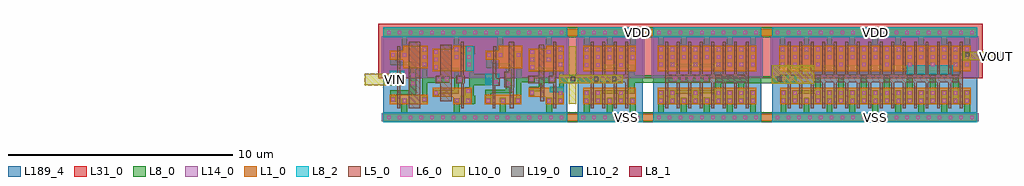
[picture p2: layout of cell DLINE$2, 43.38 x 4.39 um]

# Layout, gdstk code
from math import pi, radians
import gdstk
lib = gdstk.Library(unit=1e-6, precision=1e-09)
def R(c, l, rs):  # rectangles x0, y0, x1, y1
    for r in rs: c.add(gdstk.rectangle(r[:2], r[2:], *l))
def A(c, l, x, y, w, h, nx, ny, dx, dy):  # array of equal rectangles
    R(c, l, [(x+i*dx, y+j*dy, x+i*dx+w, y+j*dy+h) for i in range(nx) for j in range(ny)])
def P(c, l, *ps):  # polygons
    for p in ps: c.add(gdstk.Polygon(p, *l))
L1_0 = (1, 0)
L5_0 = (5, 0)
L6_0 = (6, 0)
L8_0 = (8, 0)
L8_1 = (8, 1)
L8_2 = (8, 2)
L10_0 = (10, 0)
L10_2 = (10, 2)
L14_0 = (14, 0)
L19_0 = (19, 0)
L31_0 = (31, 0)
L189_4 = (189, 4)

sg13g2_dlygate4sd2_1_1 = lib.new_cell('sg13g2_dlygate4sd2_1$1')
R(sg13g2_dlygate4sd2_1_1, L1_0, [(0,-0.15,3.84,0.15), (0.19,0.59,1.81,1.01), (0,3.63,3.84,3.93)])
P(sg13g2_dlygate4sd2_1_1, L1_0, [(2.895,0.59),(2.895,0.91),(2.13,0.91),(2.13,1.33),(3.705,1.33),(3.705,0.59)],
  [(2.13,2.06),(2.13,3.06),(2.91,3.06),(2.91,3.18),(3.705,3.18),(3.705,2.06)],
  [(0.8,2.18),(0.8,2.555),(0.22,2.555),(0.22,2.975),(0.8,2.975),(0.8,3.18),(1.84,3.18),(1.84,2.18)])
P(sg13g2_dlygate4sd2_1_1, L5_0, [(2.645,0.73),(2.645,1.52),(2.12,1.52),(2.12,1.85),(2.575,1.85),(2.575,3.24),(2.825,3.24),(2.825,0.73)],
  [(0.53,0.41),(0.53,2.48),(0.56,2.48),(0.56,3.155),(0.69,3.155),(0.69,1.74),(0.84,1.74),(0.84,1.41),(0.66,1.41),(0.66,0.41)],
  [(1.29,0.41),(1.29,1.35),(1.05,1.35),(1.05,2.02),(1.25,2.02),(1.25,3.36),(1.5,3.36),(1.5,1.35),(1.47,1.35),(1.47,0.41)],
  [(3.235,0.41),(3.235,1.515),(3.02,1.515),(3.02,1.845),(3.235,1.845),(3.235,3.36),(3.365,3.36),(3.365,0.41)])
A(sg13g2_dlygate4sd2_1_1, L6_0, 0.16, -0.08, 0.16, 0.16, 8, 2, 0.48, 3.78)
A(sg13g2_dlygate4sd2_1_1, L6_0, 2.215, 2.15, 0.16, 0.16, 1, 3, 0, 0.34)
A(sg13g2_dlygate4sd2_1_1, L6_0, 3.475, 2.27, 0.16, 0.16, 1, 3, 0, 0.34)
R(sg13g2_dlygate4sd2_1_1, L6_0, [(0.26,0.66,0.42,0.82), (0.91,0.66,1.07,0.82), (1.58,0.66,1.74,0.82), (2.965,0.66,3.125,0.82), (3.475,0.66,3.635,0.82), (3.475,1,3.635,1.16), (2.2,1.015,2.36,1.175), (1.165,1.435,1.325,1.595), (0.605,1.495,0.765,1.655), (3.105,1.6,3.265,1.76), (2.19,1.605,2.35,1.765), (1.165,1.775,1.325,1.935), (2.95,2.495,3.11,2.655), (0.29,2.7,0.45,2.86), (0.8,2.7,0.96,2.86), (1.61,2.7,1.77,2.86), (2.95,2.835,3.11,2.995)])
R(sg13g2_dlygate4sd2_1_1, L8_0, [(0.205,1.425,0.835,1.945)])
P(sg13g2_dlygate4sd2_1_1, L8_0, [(2.155,0.96),(2.155,1.36),(2.58,1.36),(2.58,1.81),(3.045,1.81),(3.045,2.03),(2.165,2.03),(2.165,3.04),(2.425,3.04),(2.425,2.205),(3.205,2.205),(3.205,1.81),(3.315,1.81),(3.315,1.55),(2.74,1.55),(2.74,1.16),(2.395,1.16),(2.395,0.96)],
  [(1.52,0.61),(1.52,0.87),(1.58,0.87),(1.58,2.615),(1.52,2.615),(1.52,2.945),(1.825,2.945),(1.825,1.815),(2.4,1.815),(2.4,1.555),(1.81,1.555),(1.81,0.61)],
  [(0.21,0.61),(0.21,1.24),(1.12,1.24),(1.12,2.195),(0.24,2.195),(0.24,2.91),(0.5,2.91),(0.5,2.4),(1.375,2.4),(1.375,1.065),(0.48,1.065),(0.48,0.61)],
  [(3.425,0.61),(3.425,1.115),(3.065,1.115),(3.065,1.37),(3.495,1.37),(3.495,2.22),(3.43,2.22),(3.43,3.16),(3.685,3.16),(3.685,0.61)],
  [(2.9,2.455),(2.9,3.56),(1.01,3.56),(1.01,2.65),(0.745,2.65),(0.745,3.56),(0,3.56),(0,4),(3.84,4),(3.84,3.56),(3.16,3.56),(3.16,2.455)],
  [(0,-0.22),(0,0.22),(0.86,0.22),(0.86,0.87),(1.12,0.87),(1.12,0.22),(2.915,0.22),(2.915,0.87),(3.175,0.87),(3.175,0.22),(3.84,0.22),(3.84,-0.22)])
R(sg13g2_dlygate4sd2_1_1, L8_2, [(0,-0.22,3.84,0.22), (3.065,1.115,3.685,1.37), (0.205,1.425,0.835,1.945), (0,3.56,3.84,4)])
R(sg13g2_dlygate4sd2_1_1, L14_0, [(-0.07,-0.18,3.91,0.18), (-0.07,1.76,3.91,3.6)])
R(sg13g2_dlygate4sd2_1_1, L31_0, [(-0.24,1.75,4.08,4.17)])
R(sg13g2_dlygate4sd2_1_1, L189_4, [(0,0,3.84,3.78)])
sg13g2_dlygate4sd2_1_1.add(gdstk.Label('X', (3.36,1.26), layer=8, texttype=25))
sg13g2_dlygate4sd2_1_1.add(gdstk.Label('VDD', (2.085,3.79), layer=8, texttype=25))
sg13g2_dlygate4sd2_1_1.add(gdstk.Label('VSS', (2.2,0.005), layer=8, texttype=25))
sg13g2_dlygate4sd2_1_1.add(gdstk.Label('A', (0.52,1.68), layer=8, texttype=25))

sg13g2_inv_4_1 = lib.new_cell('sg13g2_inv_4$1')
R(sg13g2_inv_4_1, L1_0, [(0,-0.15,2.88,0.15), (0.245,0.59,2.585,1.33), (0.245,2.06,2.585,3.18), (0,3.63,2.88,3.93)])
P(sg13g2_inv_4_1, L5_0, [(0.585,0.41),(0.585,3.36),(0.715,3.36),(0.715,1.9),(1.095,1.9),(1.095,3.36),(1.225,3.36),(1.225,1.9),(1.605,1.9),(1.605,3.36),(1.735,3.36),(1.735,1.9),(2.115,1.9),(2.115,3.36),(2.245,3.36),(2.245,0.41),(2.115,0.41),(2.115,1.57),(1.735,1.57),(1.735,0.41),(1.605,0.41),(1.605,1.57),(1.225,1.57),(1.225,0.41),(1.095,0.41),(1.095,1.57),(0.715,1.57),(0.715,0.41)])
A(sg13g2_inv_4_1, L6_0, 0.315, 0.66, 0.16, 0.16, 5, 2, 0.51, 2.285)
A(sg13g2_inv_4_1, L6_0, 0.735, 1.655, 0.16, 0.16, 4, 1, 0.34, 0)
R(sg13g2_inv_4_1, L6_0, [(0.16,-0.08,0.32,0.08), (0.16,-0.08,0.32,0.08), (0.64,-0.08,0.8,0.08), (0.64,-0.08,0.8,0.08), (1.12,-0.08,1.28,0.08), (1.12,-0.08,1.28,0.08), (1.6,-0.08,1.76,0.08), (1.6,-0.08,1.76,0.08), (2.08,-0.08,2.24,0.08), (2.08,-0.08,2.24,0.08), (2.56,-0.08,2.72,0.08), (2.56,-0.08,2.72,0.08), (0.315,1,0.475,1.16), (0.825,1,0.985,1.16), (1.845,1,2.005,1.16), (0.315,2.255,0.475,2.415), (0.825,2.255,0.985,2.415), (1.845,2.255,2.005,2.415), (1.335,2.595,1.495,2.755), (2.355,2.595,2.515,2.755), (0.315,2.605,0.475,2.765), (0.825,2.605,0.985,2.765), (1.845,2.605,2.005,2.765), (0.16,3.7,0.32,3.86), (0.16,3.7,0.32,3.86), (0.64,3.7,0.8,3.86), (0.64,3.7,0.8,3.86), (1.12,3.7,1.28,3.86), (1.12,3.7,1.28,3.86), (1.6,3.7,1.76,3.86), (1.6,3.7,1.76,3.86), (2.08,3.7,2.24,3.86), (2.08,3.7,2.24,3.86), (2.56,3.7,2.72,3.86), (2.56,3.7,2.72,3.86)])
R(sg13g2_inv_4_1, L8_0, [(0.48,1.52,2,1.9)])
P(sg13g2_inv_4_1, L8_0, [(0.775,0.61),(0.775,1.21),(2.245,1.21),(2.245,2.17),(0.775,2.17),(0.775,3.155),(1.035,3.155),(1.035,2.34),(1.795,2.34),(1.795,3.155),(2.055,3.155),(2.055,2.34),(2.54,2.34),(2.54,1.05),(2.055,1.05),(2.055,0.61),(1.795,0.61),(1.795,1.05),(1.035,1.05),(1.035,0.61)],
  [(0.265,2.205),(0.265,3.56),(0,3.56),(0,4),(2.88,4),(2.88,3.56),(2.565,3.56),(2.565,2.545),(2.305,2.545),(2.305,3.56),(1.545,3.56),(1.545,2.545),(1.285,2.545),(1.285,3.56),(0.525,3.56),(0.525,2.205)],
  [(0,-0.22),(0,0.22),(0.265,0.22),(0.265,1.21),(0.525,1.21),(0.525,0.22),(1.28,0.22),(1.28,0.87),(1.55,0.87),(1.55,0.22),(2.305,0.22),(2.305,0.87),(2.565,0.87),(2.565,0.22),(2.88,0.22),(2.88,-0.22)])
R(sg13g2_inv_4_1, L8_2, [(0,-0.22,2.88,0.22), (0,3.56,2.88,4)])
R(sg13g2_inv_4_1, L14_0, [(-0.07,-0.18,2.95,0.18), (-0.07,1.76,2.95,3.6)])
R(sg13g2_inv_4_1, L31_0, [(-0.24,1.75,3.12,4.17)])
R(sg13g2_inv_4_1, L189_4, [(0,0,2.88,3.78)])
sg13g2_inv_4_1.add(gdstk.Label('VDD', (1.925,3.8), layer=8, texttype=25))
sg13g2_inv_4_1.add(gdstk.Label('VSS', (1.405,0.005), layer=8, texttype=25))

sg13g2_inv_8_1 = lib.new_cell('sg13g2_inv_8$1')
R(sg13g2_inv_8_1, L1_0, [(0,-0.15,4.8,0.15), (0.185,0.59,4.575,1.33), (0.185,2.06,4.575,3.18), (0,3.63,4.8,3.93)])
P(sg13g2_inv_8_1, L5_0, [(0.525,0.41),(0.525,3.36),(0.655,3.36),(0.655,1.9),(1.035,1.9),(1.035,3.36),(1.165,3.36),(1.165,1.9),(1.545,1.9),(1.545,3.36),(1.675,3.36),(1.675,1.9),(2.055,1.9),(2.055,3.36),(2.185,3.36),(2.185,1.9),(2.565,1.9),(2.565,3.36),(2.695,3.36),(2.695,1.9),(3.075,1.9),(3.075,3.36),(3.205,3.36),(3.205,1.9),(3.585,1.9),(3.585,3.36),(3.715,3.36),(3.715,1.9),(4.105,1.9),(4.105,3.36),(4.235,3.36),(4.235,0.41),(4.105,0.41),(4.105,1.57),(3.715,1.57),(3.715,0.41),(3.585,0.41),(3.585,1.57),(3.205,1.57),(3.205,0.41),(3.075,0.41),(3.075,1.57),(2.695,1.57),(2.695,0.41),(2.565,0.41),(2.565,1.57),(2.185,1.57),(2.185,0.41),(2.055,0.41),(2.055,1.57),(1.675,1.57),(1.675,0.41),(1.545,0.41),(1.545,1.57),(1.165,1.57),(1.165,0.41),(1.035,0.41),(1.035,1.57),(0.655,1.57),(0.655,0.41)])
A(sg13g2_inv_8_1, L6_0, 0.255, 0.66, 0.16, 0.16, 8, 2, 0.51, 1.95)
A(sg13g2_inv_8_1, L6_0, 0.765, 1, 0.16, 0.16, 3, 2, 1.02, 1.27)
A(sg13g2_inv_8_1, L6_0, 0.89, 1.655, 0.16, 0.16, 5, 1, 0.34, 0)
A(sg13g2_inv_8_1, L6_0, 4.345, 2.27, 0.16, 0.16, 1, 3, 0, 0.34)
A(sg13g2_inv_8_1, L6_0, 0.255, 2.95, 0.16, 0.16, 8, 1, 0.51, 0)
R(sg13g2_inv_8_1, L6_0, [(0.16,-0.08,0.32,0.08), (0.16,-0.08,0.32,0.08), (0.64,-0.08,0.8,0.08), (0.64,-0.08,0.8,0.08), (1.12,-0.08,1.28,0.08), (1.12,-0.08,1.28,0.08), (1.6,-0.08,1.76,0.08), (1.6,-0.08,1.76,0.08), (2.08,-0.08,2.24,0.08), (2.08,-0.08,2.24,0.08), (2.56,-0.08,2.72,0.08), (2.56,-0.08,2.72,0.08), (3.04,-0.08,3.2,0.08), (3.04,-0.08,3.2,0.08), (3.52,-0.08,3.68,0.08), (3.52,-0.08,3.68,0.08), (4,-0.08,4.16,0.08), (4,-0.08,4.16,0.08), (4.48,-0.08,4.64,0.08), (4.48,-0.08,4.64,0.08), (4.345,0.66,4.505,0.82), (0.255,1,0.415,1.16), (3.315,1,3.475,1.16), (3.825,1,3.985,1.16), (4.345,1,4.505,1.16), (0.255,2.27,0.415,2.43), (3.315,2.27,3.475,2.43), (3.825,2.27,3.985,2.43), (0.16,3.7,0.32,3.86), (0.16,3.7,0.32,3.86), (0.64,3.7,0.8,3.86), (0.64,3.7,0.8,3.86), (1.12,3.7,1.28,3.86), (1.12,3.7,1.28,3.86), (1.6,3.7,1.76,3.86), (1.6,3.7,1.76,3.86), (2.08,3.7,2.24,3.86), (2.08,3.7,2.24,3.86), (2.56,3.7,2.72,3.86), (2.56,3.7,2.72,3.86), (3.04,3.7,3.2,3.86), (3.04,3.7,3.2,3.86), (3.52,3.7,3.68,3.86), (3.52,3.7,3.68,3.86), (4,3.7,4.16,3.86), (4,3.7,4.16,3.86), (4.48,3.7,4.64,3.86), (4.48,3.7,4.64,3.86)])
R(sg13g2_inv_8_1, L8_0, [(0.805,1.535,2.495,1.865)])
P(sg13g2_inv_8_1, L8_0, [(0,-0.22),(0,0.22),(0.205,0.22),(0.205,1.21),(0.465,1.21),(0.465,0.22),(1.225,0.22),(1.225,0.87),(1.485,0.87),(1.485,0.22),(2.245,0.22),(2.245,0.89),(2.505,0.89),(2.505,0.22),(3.265,0.22),(3.265,1.21),(3.525,1.21),(3.525,0.22),(4.295,0.22),(4.295,1.21),(4.555,1.21),(4.555,0.22),(4.8,0.22),(4.8,-0.22)],
  [(0.205,2.22),(0.205,3.56),(0,3.56),(0,4),(4.8,4),(4.8,3.56),(4.555,3.56),(4.555,2.22),(4.295,2.22),(4.295,3.56),(3.525,3.56),(3.525,2.22),(3.265,2.22),(3.265,3.56),(2.505,3.56),(2.505,2.56),(2.245,2.56),(2.245,3.56),(1.485,3.56),(1.485,2.56),(1.225,2.56),(1.225,3.56),(0.465,3.56),(0.465,2.22)],
  [(1.735,0.61),(1.735,1.05),(0.98,1.05),(0.98,0.62),(0.715,0.62),(0.715,1.23),(2.74,1.23),(2.74,2.22),(0.715,2.22),(0.715,3.16),(0.975,3.16),(0.975,2.38),(1.735,2.38),(1.735,3.16),(1.995,3.16),(1.995,2.38),(2.755,2.38),(2.755,3.16),(3.015,3.16),(3.015,1.84),(3.775,1.84),(3.775,3.16),(4.035,3.16),(4.035,0.61),(3.775,0.61),(3.775,1.53),(3.015,1.53),(3.015,0.61),(2.755,0.61),(2.755,1.07),(2,1.07),(2,0.61)])
R(sg13g2_inv_8_1, L8_2, [(0,-0.22,4.8,0.22), (0,3.56,4.8,4)])
R(sg13g2_inv_8_1, L14_0, [(-0.07,-0.18,4.87,0.18), (-0.07,1.76,4.87,3.6)])
R(sg13g2_inv_8_1, L31_0, [(-0.24,1.75,5.04,4.17)])
R(sg13g2_inv_8_1, L189_4, [(0,0,4.8,3.78)])
sg13g2_inv_8_1.add(gdstk.Label('VSS', (2.31,-0.02), layer=8, texttype=25))
sg13g2_inv_8_1.add(gdstk.Label('VDD', (2.71,3.78), layer=8, texttype=25))

sg13g2_dlygate4sd3_1_1 = lib.new_cell('sg13g2_dlygate4sd3_1$1')
R(sg13g2_dlygate4sd3_1_1, L1_0, [(0,-0.15,4.32,0.15), (0.28,0.59,1.97,1.01), (0,3.63,4.32,3.93)])
P(sg13g2_dlygate4sd3_1_1, L1_0, [(2.19,2.06),(2.19,3.06),(3.1,3.06),(3.1,3.18),(3.95,3.18),(3.95,2.06)],
  [(3.11,0.59),(3.11,0.91),(2.19,0.91),(2.19,1.33),(3.92,1.33),(3.92,0.59)],
  [(0.88,2.18),(0.88,2.555),(0.28,2.555),(0.28,2.975),(0.88,2.975),(0.88,3.18),(1.97,3.18),(1.97,2.18)])
R(sg13g2_dlygate4sd3_1_1, L5_0, [(1.13,0.41,1.63,3.36)])
P(sg13g2_dlygate4sd3_1_1, L5_0, [(0.62,0.41),(0.62,1.41),(0.59,1.41),(0.59,1.74),(0.62,1.74),(0.62,3.155),(0.75,3.155),(0.75,1.74),(0.92,1.74),(0.92,1.41),(0.75,1.41),(0.75,0.41)],
  [(3.45,0.41),(3.45,1.515),(3.245,1.515),(3.245,1.845),(3.44,1.845),(3.44,3.36),(3.57,3.36),(3.57,1.845),(3.61,1.845),(3.61,1.515),(3.58,1.515),(3.58,0.41)],
  [(2.53,0.73),(2.53,1.52),(2.315,1.52),(2.315,1.85),(2.53,1.85),(2.53,3.24),(3.03,3.24),(3.03,1.85),(3.035,1.85),(3.035,1.52),(3.03,1.52),(3.03,0.73)])
A(sg13g2_dlygate4sd3_1_1, L6_0, 2.26, 2.15, 0.16, 0.16, 1, 3, 0, 0.34)
A(sg13g2_dlygate4sd3_1_1, L6_0, 1.74, 2.27, 0.16, 0.16, 1, 3, 0, 0.34)
A(sg13g2_dlygate4sd3_1_1, L6_0, 3.72, 2.27, 0.16, 0.16, 1, 3, 0, 0.34)
R(sg13g2_dlygate4sd3_1_1, L6_0, [(0.16,-0.08,0.32,0.08), (0.16,-0.08,0.32,0.08), (0.64,-0.08,0.8,0.08), (0.64,-0.08,0.8,0.08), (1.12,-0.08,1.28,0.08), (1.12,-0.08,1.28,0.08), (1.6,-0.08,1.76,0.08), (1.6,-0.08,1.76,0.08), (2.08,-0.08,2.24,0.08), (2.08,-0.08,2.24,0.08), (2.56,-0.08,2.72,0.08), (2.56,-0.08,2.72,0.08), (3.04,-0.08,3.2,0.08), (3.04,-0.08,3.2,0.08), (3.52,-0.08,3.68,0.08), (3.52,-0.08,3.68,0.08), (4,-0.08,4.16,0.08), (4,-0.08,4.16,0.08), (0.86,0.66,1.02,0.82), (3.69,0.66,3.85,0.82), (3.18,0.665,3.34,0.825), (0.35,0.715,0.51,0.875), (1.74,0.715,1.9,0.875), (2.26,1.01,2.42,1.17), (3.69,1.09,3.85,1.25), (1.24,1.43,1.4,1.59), (0.67,1.49,0.83,1.65), (3.325,1.595,3.485,1.755), (2.395,1.6,2.555,1.76), (2.735,1.6,2.895,1.76), (1.24,1.785,1.4,1.945), (3.17,2.61,3.33,2.77), (0.35,2.695,0.51,2.855), (0.86,2.695,1.02,2.855), (3.17,2.95,3.33,3.11), (0.16,3.7,0.32,3.86), (0.16,3.7,0.32,3.86), (0.64,3.7,0.8,3.86), (0.64,3.7,0.8,3.86), (1.12,3.7,1.28,3.86), (1.12,3.7,1.28,3.86), (1.6,3.7,1.76,3.86), (1.6,3.7,1.76,3.86), (2.08,3.7,2.24,3.86), (2.08,3.7,2.24,3.86), (2.56,3.7,2.72,3.86), (2.56,3.7,2.72,3.86), (3.04,3.7,3.2,3.86), (3.04,3.7,3.2,3.86), (3.52,3.7,3.68,3.86), (3.52,3.7,3.68,3.86), (4,3.7,4.16,3.86), (4,3.7,4.16,3.86)])
R(sg13g2_dlygate4sd3_1_1, L8_0, [(0.285,1.41,0.915,2.08)])
P(sg13g2_dlygate4sd3_1_1, L8_0, [(3.61,0.595),(3.61,1.34),(3.805,1.34),(3.805,2.075),(3.655,2.075),(3.655,3.17),(4.02,3.17),(4.02,0.595)],
  [(0,-0.22),(0,0.22),(0.8,0.22),(0.8,0.835),(1.07,0.835),(1.07,0.22),(3.13,0.22),(3.13,0.85),(3.39,0.85),(3.39,0.22),(4.32,0.22),(4.32,-0.22)],
  [(3.12,2.56),(3.12,3.56),(1.07,3.56),(1.07,2.665),(0.81,2.665),(0.81,3.56),(0,3.56),(0,4),(4.32,4),(4.32,3.56),(3.38,3.56),(3.38,2.56)],
  [(2.205,0.945),(2.205,1.235),(3.15,1.235),(3.15,2.045),(2.21,2.045),(2.21,3.04),(2.47,3.04),(2.47,2.215),(3.34,2.215),(3.34,1.845),(3.535,1.845),(3.535,1.515),(3.34,1.515),(3.34,1.045),(2.47,1.045),(2.47,0.945)],
  [(1.72,0.665),(1.72,2.22),(1.69,2.22),(1.69,3.16),(1.955,3.16),(1.955,1.81),(2.925,1.81),(2.925,1.55),(1.955,1.55),(1.955,0.665)],
  [(0.3,0.69),(0.3,1.205),(1.175,1.205),(1.175,2.32),(0.3,2.32),(0.3,2.88),(0.56,2.88),(0.56,2.48),(1.455,2.48),(1.455,1.015),(0.56,1.015),(0.56,0.69)])
R(sg13g2_dlygate4sd3_1_1, L8_2, [(0,-0.22,4.32,0.22), (0.285,1.41,0.915,2.08), (3.655,2.075,4.02,3.17), (0,3.56,4.32,4)])
R(sg13g2_dlygate4sd3_1_1, L14_0, [(-0.07,-0.18,4.39,0.18), (-0.07,1.76,4.39,3.6)])
R(sg13g2_dlygate4sd3_1_1, L31_0, [(-0.24,1.75,4.56,4.17)])
R(sg13g2_dlygate4sd3_1_1, L189_4, [(0,0,4.32,3.78)])
sg13g2_dlygate4sd3_1_1.add(gdstk.Label('A', (0.62,1.755), layer=8, texttype=25))
sg13g2_dlygate4sd3_1_1.add(gdstk.Label('VDD', (2.16,3.78), layer=8, texttype=25))
sg13g2_dlygate4sd3_1_1.add(gdstk.Label('VSS', (2.16,0), layer=8, texttype=25))
sg13g2_dlygate4sd3_1_1.add(gdstk.Label('X', (3.865,2.67), layer=8, texttype=25))

sg13g2_inv_16_1_1 = lib.new_cell('sg13g2_inv_16$1$1')
R(sg13g2_inv_16_1_1, L1_0, [(0,-0.15,9.12,0.15), (0.305,0.59,8.765,1.33), (0.305,2.06,8.815,3.18), (0,3.63,9.12,3.93)])
R(sg13g2_inv_16_1_1, L5_0, [(8.425,1.57,8.785,1.9)])
P(sg13g2_inv_16_1_1, L5_0, [(0.645,0.41),(0.645,3.36),(0.775,3.36),(0.775,1.9),(1.155,1.9),(1.155,3.36),(1.285,3.36),(1.285,1.9),(1.665,1.9),(1.665,3.36),(1.795,3.36),(1.795,1.9),(2.175,1.9),(2.175,3.36),(2.305,3.36),(2.305,1.9),(2.685,1.9),(2.685,3.36),(2.815,3.36),(2.815,1.9),(3.195,1.9),(3.195,3.36),(3.325,3.36),(3.325,1.9),(3.705,1.9),(3.705,3.36),(3.835,3.36),(3.835,1.9),(4.215,1.9),(4.215,3.36),(4.345,3.36),(4.345,1.9),(4.725,1.9),(4.725,3.36),(4.855,3.36),(4.855,1.9),(5.235,1.9),(5.235,3.36),(5.365,3.36),(5.365,1.9),(5.745,1.9),(5.745,3.36),(5.875,3.36),(5.875,1.9),(6.255,1.9),(6.255,3.36),(6.385,3.36),(6.385,1.9),(6.765,1.9),(6.765,3.36),(6.895,3.36),(6.895,1.9),(7.275,1.9),(7.275,3.36),(7.405,3.36),(7.405,1.9),(7.785,1.9),(7.785,3.36),(7.915,3.36),(7.915,1.9),(8.295,1.9),(8.295,3.36),(8.425,3.36),(8.425,0.41),(8.295,0.41),(8.295,1.57),(7.915,1.57),(7.915,0.41),(7.785,0.41),(7.785,1.57),(7.405,1.57),(7.405,0.41),(7.275,0.41),(7.275,1.57),(6.895,1.57),(6.895,0.41),(6.765,0.41),(6.765,1.57),(6.385,1.57),(6.385,0.41),(6.255,0.41),(6.255,1.57),(5.875,1.57),(5.875,0.41),(5.745,0.41),(5.745,1.57),(5.365,1.57),(5.365,0.41),(5.235,0.41),(5.235,1.57),(4.855,1.57),(4.855,0.41),(4.725,0.41),(4.725,1.57),(4.345,1.57),(4.345,0.41),(4.215,0.41),(4.215,1.57),(3.835,1.57),(3.835,0.41),(3.705,0.41),(3.705,1.57),(3.325,1.57),(3.325,0.41),(3.195,0.41),(3.195,1.57),(2.815,1.57),(2.815,0.41),(2.685,0.41),(2.685,1.57),(2.305,1.57),(2.305,0.41),(2.175,0.41),(2.175,1.57),(1.795,1.57),(1.795,0.41),(1.665,0.41),(1.665,1.57),(1.285,1.57),(1.285,0.41),(1.155,0.41),(1.155,1.57),(0.775,1.57),(0.775,0.41)])
A(sg13g2_inv_16_1_1, L6_0, 0.375, 0.66, 0.16, 0.16, 17, 1, 0.51, 0)
A(sg13g2_inv_16_1_1, L6_0, 0.375, 1, 0.16, 0.16, 14, 1, 0.51, 0)
A(sg13g2_inv_16_1_1, L6_0, 0.885, 2.27, 0.16, 0.16, 8, 1, 1.02, 0)
A(sg13g2_inv_16_1_1, L6_0, 8.585, 2.27, 0.16, 0.16, 1, 3, 0, 0.34)
A(sg13g2_inv_16_1_1, L6_0, 0.375, 2.61, 0.16, 0.16, 16, 2, 0.51, 0.34)
R(sg13g2_inv_16_1_1, L6_0, [(0.16,-0.08,0.32,0.08), (0.16,-0.08,0.32,0.08), (0.64,-0.08,0.8,0.08), (0.64,-0.08,0.8,0.08), (1.12,-0.08,1.28,0.08), (1.12,-0.08,1.28,0.08), (1.6,-0.08,1.76,0.08), (1.6,-0.08,1.76,0.08), (2.08,-0.08,2.24,0.08), (2.08,-0.08,2.24,0.08), (2.56,-0.08,2.72,0.08), (2.56,-0.08,2.72,0.08), (3.04,-0.08,3.2,0.08), (3.04,-0.08,3.2,0.08), (3.52,-0.08,3.68,0.08), (3.52,-0.08,3.68,0.08), (4,-0.08,4.16,0.08), (4,-0.08,4.16,0.08), (4.48,-0.08,4.64,0.08), (4.48,-0.08,4.64,0.08), (4.96,-0.08,5.12,0.08), (4.96,-0.08,5.12,0.08), (5.44,-0.08,5.6,0.08), (5.44,-0.08,5.6,0.08), (5.92,-0.08,6.08,0.08), (5.92,-0.08,6.08,0.08), (6.4,-0.08,6.56,0.08), (6.4,-0.08,6.56,0.08), (6.88,-0.08,7.04,0.08), (6.88,-0.08,7.04,0.08), (7.36,-0.08,7.52,0.08), (7.36,-0.08,7.52,0.08), (7.84,-0.08,8,0.08), (7.84,-0.08,8,0.08), (8.32,-0.08,8.48,0.08), (8.32,-0.08,8.48,0.08), (8.8,-0.08,8.96,0.08), (8.8,-0.08,8.96,0.08), (8.025,1,8.185,1.16), (8.535,1,8.695,1.16), (8.195,1.65,8.355,1.81), (8.535,1.65,8.695,1.81), (0.375,2.27,0.535,2.43), (0.16,3.7,0.32,3.86), (0.16,3.7,0.32,3.86), (0.64,3.7,0.8,3.86), (0.64,3.7,0.8,3.86), (1.12,3.7,1.28,3.86), (1.12,3.7,1.28,3.86), (1.6,3.7,1.76,3.86), (1.6,3.7,1.76,3.86), (2.08,3.7,2.24,3.86), (2.08,3.7,2.24,3.86), (2.56,3.7,2.72,3.86), (2.56,3.7,2.72,3.86), (3.04,3.7,3.2,3.86), (3.04,3.7,3.2,3.86), (3.52,3.7,3.68,3.86), (3.52,3.7,3.68,3.86), (4,3.7,4.16,3.86), (4,3.7,4.16,3.86), (4.48,3.7,4.64,3.86), (4.48,3.7,4.64,3.86), (4.96,3.7,5.12,3.86), (4.96,3.7,5.12,3.86), (5.44,3.7,5.6,3.86), (5.44,3.7,5.6,3.86), (5.92,3.7,6.08,3.86), (5.92,3.7,6.08,3.86), (6.4,3.7,6.56,3.86), (6.4,3.7,6.56,3.86), (6.88,3.7,7.04,3.86), (6.88,3.7,7.04,3.86), (7.36,3.7,7.52,3.86), (7.36,3.7,7.52,3.86), (7.84,3.7,8,3.86), (7.84,3.7,8,3.86), (8.32,3.7,8.48,3.86), (8.32,3.7,8.48,3.86), (8.8,3.7,8.96,3.86), (8.8,3.7,8.96,3.86)])
R(sg13g2_inv_16_1_1, L8_0, [(8.025,1.49,8.785,1.87)])
P(sg13g2_inv_16_1_1, L8_0, [(0,-0.22),(0,0.22),(0.325,0.22),(0.325,1.21),(0.585,1.21),(0.585,0.22),(1.345,0.22),(1.345,1.21),(1.605,1.21),(1.605,0.22),(2.365,0.22),(2.365,1.21),(2.625,1.21),(2.625,0.22),(3.385,0.22),(3.385,1.21),(3.645,1.21),(3.645,0.22),(4.405,0.22),(4.405,1.21),(4.665,1.21),(4.665,0.22),(5.425,0.22),(5.425,1.21),(5.685,1.21),(5.685,0.22),(6.445,0.22),(6.445,1.21),(6.705,1.21),(6.705,0.22),(7.465,0.22),(7.465,0.87),(7.725,0.87),(7.725,0.22),(8.485,0.22),(8.485,1.21),(8.745,1.21),(8.745,0.22),(9.12,0.22),(9.12,-0.22)],
  [(0.325,2.22),(0.325,3.56),(0,3.56),(0,4),(9.12,4),(9.12,3.56),(8.795,3.56),(8.795,2.22),(8.535,2.22),(8.535,3.555),(7.725,3.555),(7.725,2.56),(7.465,2.56),(7.465,3.56),(6.705,3.56),(6.705,2.56),(6.445,2.56),(6.445,3.56),(5.685,3.56),(5.685,2.56),(5.425,2.56),(5.425,3.56),(4.665,3.56),(4.665,2.56),(4.405,2.56),(4.405,3.56),(3.645,3.56),(3.645,2.56),(3.385,2.56),(3.385,3.56),(2.625,3.56),(2.625,2.56),(2.365,2.56),(2.365,3.56),(1.605,3.56),(1.605,2.56),(1.345,2.56),(1.345,3.56),(0.585,3.56),(0.585,2.22)],
  [(2.875,0.625),(2.875,1.9),(2.115,1.9),(2.115,0.63),(1.855,0.63),(1.855,1.9),(1.095,1.9),(1.095,0.63),(0.835,0.63),(0.835,3.16),(1.095,3.16),(1.095,2.32),(1.855,2.32),(1.855,3.16),(2.115,3.16),(2.115,2.32),(2.875,2.32),(2.875,3.16),(3.135,3.16),(3.135,2.32),(3.895,2.32),(3.895,3.16),(4.155,3.16),(4.155,2.32),(4.915,2.32),(4.915,3.16),(5.175,3.16),(5.175,2.32),(5.935,2.32),(5.935,3.16),(6.195,3.16),(6.195,2.32),(6.955,2.32),(6.955,3.16),(7.215,3.16),(7.215,2.32),(7.975,2.32),(7.975,3.16),(8.235,3.16),(8.235,2.145),(7.215,2.145),(7.215,1.21),(8.235,1.21),(8.235,0.625),(7.975,0.625),(7.975,1.05),(7.215,1.05),(7.215,0.625),(6.955,0.625),(6.955,1.9),(6.195,1.9),(6.195,0.625),(5.935,0.625),(5.935,1.9),(5.175,1.9),(5.175,0.625),(4.915,0.625),(4.915,1.9),(4.155,1.9),(4.155,0.625),(3.895,0.625),(3.895,1.9),(3.135,1.9),(3.135,0.625)])
R(sg13g2_inv_16_1_1, L8_2, [(0,-0.22,9.12,0.22), (8.025,1.49,8.745,1.87), (1.095,1.9,3.135,2.32), (0,3.56,9.12,4)])
R(sg13g2_inv_16_1_1, L14_0, [(-0.065,-0.18,9.19,0.18), (-0.065,1.76,9.19,3.6)])
R(sg13g2_inv_16_1_1, L31_0, [(-0.24,1.75,9.36,4.17)])
R(sg13g2_inv_16_1_1, L189_4, [(0,0,9.12,3.78)])
sg13g2_inv_16_1_1.add(gdstk.Label('VSS', (3.86,-0.025), layer=8, texttype=25))
sg13g2_inv_16_1_1.add(gdstk.Label('VDD', (4.28,3.795), layer=8, texttype=25))
sg13g2_inv_16_1_1.add(gdstk.Label('A', (8.16,1.68), layer=8, texttype=25))
sg13g2_inv_16_1_1.add(gdstk.Label('Y', (2.16,2.06), layer=8, texttype=25))

dline_2 = lib.new_cell('DLINE$2')
R(dline_2, L1_0, [(22.52,8.07,23,8.37), (26.84,8.07,27.32,8.37), (30.2,8.07,30.68,8.37), (35.48,8.07,35.96,8.37), (22.52,11.85,23,12.15), (26.84,11.85,27.32,12.15), (30.2,11.85,30.68,12.15), (35.48,11.85,35.96,12.15)])
R(dline_2, L8_0, [(22.52,8,23,8.44), (26.84,8,27.32,8.44), (30.2,8,30.68,8.44), (35.48,8,35.96,8.44), (22.11,8.83,22.76,9.18), (22.485,9.645,23.205,10.165), (26.495,9.74,27.8,10.12), (33.42,9.75,37.055,10.06), (29.83,9.755,31.485,10.085), (22.11,11.03,22.76,11.38), (22.52,11.78,23,12.22), (26.84,11.78,27.32,12.22), (30.2,11.78,30.68,12.22), (35.48,11.78,35.96,12.22)])
P(dline_2, L8_1, [(2.705,8.11),(2.705,8.11),(2.705,8.11),(2.705,8.11)])
R(dline_2, L8_2, [(40.49,8.145,40.62,8.275), (29.415,8.155,29.545,8.285), (19.15,9.845,19.28,9.975), (29.9,11.935,30.03,12.065), (40.48,11.95,40.61,12.08)])
R(dline_2, L10_0, [(26.91,8.835,27.25,11.38), (17.855,9.645,19.6,10.165), (35.935,9.71,37.83,10.09), (26.495,9.74,29.32,10.12), (35.935,10.09,37.83,10.54), (44.435,10.765,46.085,11.145)])
R(dline_2, L10_2, [(19.145,9.85,19.275,9.98), (45.865,10.885,45.995,11.015)])
R(dline_2, L14_0, [(22.59,8.04,22.93,8.4), (26.91,8.04,27.25,8.4), (30.27,8.04,30.61,8.4), (35.55,8.04,35.895,8.4)])
R(dline_2, L19_0, [(19.118,9.828,19.308,10.018), (27.01,9.828,27.2,10.018), (28.045,9.828,28.235,10.018), (28.845,9.828,29.035,10.018), (36.195,9.83,36.385,10.02), (44.535,10.91,44.725,11.1)])
dline_2.add(gdstk.Reference(sg13g2_dlygate4sd2_1_1, (23,8.22)))
dline_2.add(gdstk.Reference(sg13g2_inv_4_1, (27.32,8.22)))
dline_2.add(gdstk.Reference(sg13g2_inv_8_1, (30.68,8.22)))
dline_2.add(gdstk.Reference(sg13g2_dlygate4sd3_1_1, (18.68,8.22)))
dline_2.add(gdstk.Reference(sg13g2_inv_16_1_1, (45.08,8.22), rotation=pi, x_reflection=True))
dline_2.add(gdstk.Label('VDD', (29.965,12), layer=8, texttype=25))
dline_2.add(gdstk.Label('VSS', (29.48,8.22), layer=8, texttype=25))
dline_2.add(gdstk.Label('VIN', (19.215,9.91), layer=8, texttype=25))
dline_2.add(gdstk.Label('VSS', (40.555,8.21), layer=8, texttype=25))
dline_2.add(gdstk.Label('VDD', (40.545,12.015), layer=8, texttype=25))
dline_2.add(gdstk.Label('VOUT', (45.93,10.95), layer=10, texttype=25))
dline_2.add(gdstk.Label('VIN', (19.21,9.915), layer=10, texttype=25))

lib.write_gds('DLINE_2.gds')
